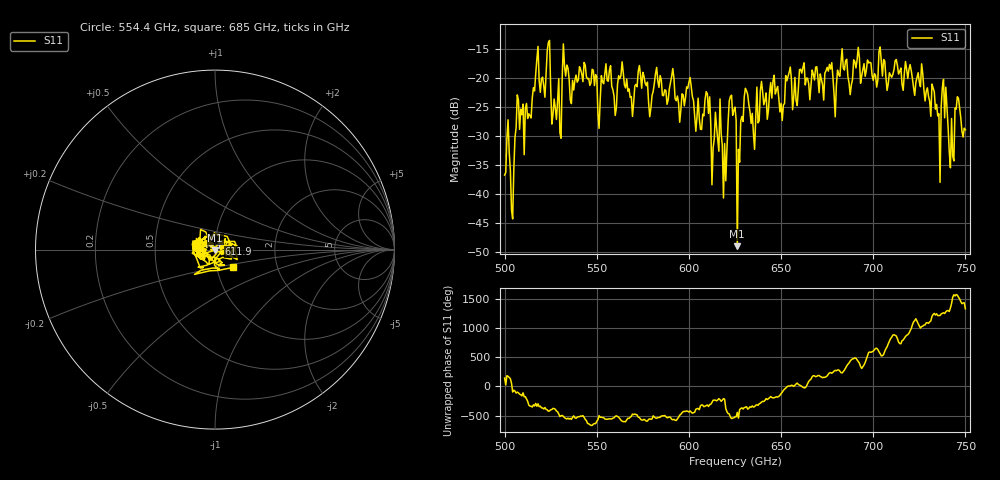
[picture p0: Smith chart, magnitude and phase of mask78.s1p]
!Created with skrf (http://scikit-rf.org).
# GHz S MA R 50.0
!freq magS11 angS11
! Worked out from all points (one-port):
!   401 points, 500 GHz to 750 GHz, reference 50 ohm
!   lowest |S11| = -48.9 dB at 626.2 GHz (marker M1), VSWR 1.01, Z = 50 - j0.356 ohm
!   |S11| at or under -10 dB: start of sweep to end of sweep
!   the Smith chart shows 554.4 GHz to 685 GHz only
!   S11 on the Smith chart (normalised r, x): 554.4 GHz: 0.81, +0.05; 611.9 GHz: 1.04, +0.07; 685 GHz: 1.20, -0.24
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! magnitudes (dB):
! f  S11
! 500 GHz  -36.7
! 504.4 GHz  -44.2
! 507.5 GHz  -23.8
! 513.8 GHz  -26.5
! 516.9 GHz  -19.3
! 523.8 GHz  -13.9
! 526.9 GHz  -23.6
! 531.2 GHz  -19.8
! 554.4 GHz  -19.2
! 562.5 GHz  -20.1
! 593.8 GHz  -23.1
! 610 GHz  -22.7
! 611.9 GHz  -28.2
! 619.4 GHz  -31.3
! 623.1 GHz  -23.0
! 625 GHz  -25.0
! 626.2 GHz  -48.9
! 631.2 GHz  -22.2
! 635 GHz  -29.5
! 656.2 GHz  -25.4
! 685 GHz  -17.0
! 687.5 GHz  -22.9
! 718.8 GHz  -20.1
! 735 GHz  -26.5
! 738.8 GHz  -26.8
! 742.5 GHz  -27.0
! 745.6 GHz  -23.2
! 750 GHz  -28.9
